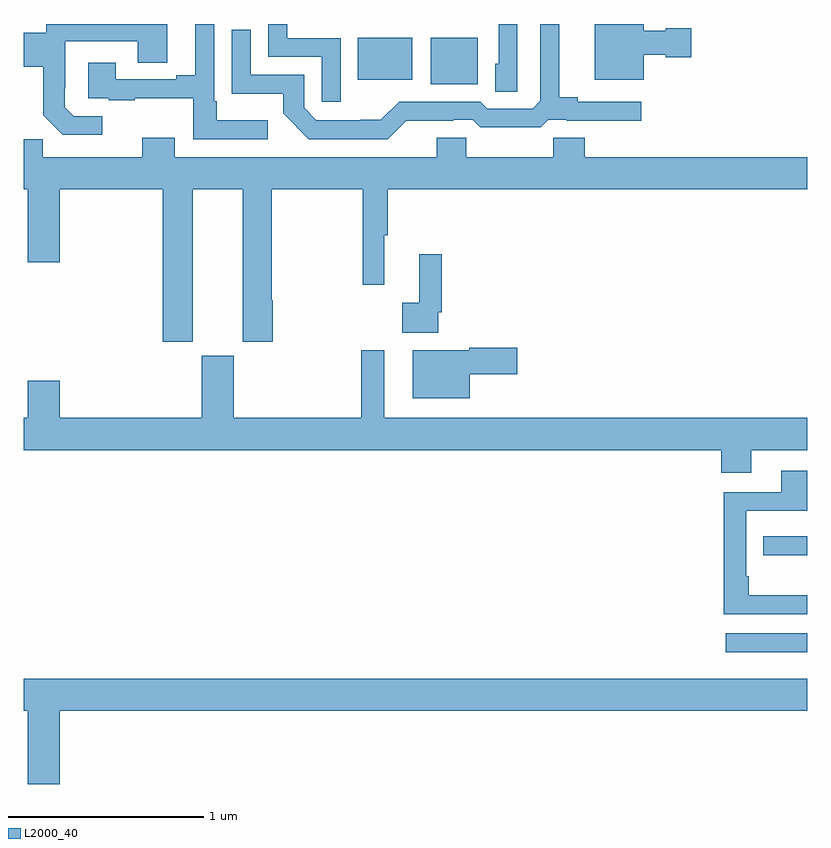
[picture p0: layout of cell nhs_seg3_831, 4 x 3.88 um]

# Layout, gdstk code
import gdstk
lib = gdstk.Library(unit=1e-6, precision=1e-09)
def R(c, l, rs):  # rectangles x0, y0, x1, y1
    for r in rs: c.add(gdstk.rectangle(r[:2], r[2:], *l))
def P(c, l, *ps):  # polygons
    for p in ps: c.add(gdstk.Polygon(p, *l))
L2000_40 = (2000, 40)

nhs_seg3_831 = lib.new_cell('nhs_seg3_831')
R(nhs_seg3_831, L2000_40, [(156.585,725.192,157,725.289), (156.775,725.687,157,725.784), (155.078,728.093,155.317,728.329), (154.706,728.114,154.984,728.329)])
P(nhs_seg3_831, L2000_40, [(154.952,727.907),(155.192,727.907),(155.192,727.911),(155.292,727.911),(155.332,727.872),(155.639,727.872),(155.679,727.911),(155.773,727.911),(155.773,727.907),(156.154,727.907),(156.154,728.004),(155.83,728.004),(155.83,728.027),(155.735,728.027),(155.735,728.4),(155.637,728.4),(155.637,728.007),(155.598,727.968),(155.367,727.968),(155.331,728.004),(154.917,728.004),(154.823,727.91),(154.718,727.91),(154.718,727.908),(154.494,727.908),(154.431,727.971),(154.431,728.142),(154.158,728.142),(154.158,728.371),(154.062,728.371),(154.062,728.045),(154.324,728.045),(154.324,727.943),(154.454,727.812),(154.857,727.812)],
  [(154.246,727.909),(153.985,727.909),(153.985,728.005),(153.972,728.005),(153.972,728.4),(153.875,728.4),(153.875,728.137),(153.779,728.137),(153.779,728.118),(153.469,728.118),(153.469,728.203),(153.329,728.203),(153.329,728.022),(153.433,728.022),(153.433,728.01),(153.565,728.01),(153.565,728.021),(153.864,728.021),(153.864,727.812),(154.246,727.812)],
  [(156.166,728.243),(156.279,728.243),(156.279,728.231),(156.409,728.231),(156.409,728.378),(156.279,728.378),(156.279,728.365),(156.166,728.365),(156.166,728.4),(155.915,728.4),(155.915,728.114),(156.166,728.114)],
  [(155.52,728.4),(155.424,728.4),(155.424,728.196),(155.408,728.196),(155.408,728.053),(155.52,728.053)],
  [(153.4,727.929),(153.255,727.929),(153.208,727.976),(153.208,728.071),(153.21,728.071),(153.21,728.312),(153.581,728.312),(153.581,728.203),(153.733,728.203),(153.733,728.4),(153.114,728.4),(153.114,728.356),(153,728.356),(153,728.181),(153.099,728.181),(153.099,727.935),(153.199,727.835),(153.4,727.835)],
  [(154.617,728.328),(154.344,728.328),(154.344,728.4),(154.248,728.4),(154.248,728.232),(154.521,728.232),(154.521,728.004),(154.617,728.004)],
  [(153.862,727.556),(154.118,727.556),(154.118,726.777),(154.271,726.777),(154.271,726.989),(154.266,726.989),(154.266,727.556),(154.731,727.556),(154.731,727.068),(154.841,727.068),(154.841,727.32),(154.859,727.32),(154.859,727.556),(157,727.556),(157,727.72),(155.864,727.72),(155.864,727.818),(155.704,727.818),(155.704,727.72),(155.259,727.72),(155.259,727.818),(155.108,727.818),(155.108,727.72),(153.769,727.72),(153.769,727.819),(153.605,727.819),(153.605,727.72),(153.095,727.72),(153.095,727.811),(153,727.811),(153,727.556),(153.02,727.556),(153.02,727.182),(153.184,727.182),(153.184,727.556),(153.71,727.556),(153.71,726.777),(153.862,726.777)],
  [(155.115,726.928),(155.135,726.928),(155.135,727.225),(155.018,727.225),(155.018,726.977),(154.932,726.977),(154.932,726.824),(155.115,726.824)],
  [(155.278,726.611),(155.521,726.611),(155.521,726.746),(155.274,726.746),(155.274,726.733),(154.985,726.733),(154.985,726.488),(155.278,726.488)],
  [(156.563,726.107),(156.715,726.107),(156.715,726.224),(157,726.224),(157,726.388),(154.84,726.388),(154.84,726.733),(154.723,726.733),(154.723,726.388),(154.072,726.388),(154.072,726.705),(153.908,726.705),(153.908,726.388),(153.184,726.388),(153.184,726.577),(153.02,726.577),(153.02,726.388),(153,726.388),(153,726.224),(156.563,726.224)],
  [(157,725.483),(156.703,725.483),(156.703,725.578),(156.69,725.578),(156.69,725.913),(157,725.913),(157,726.118),(156.869,726.118),(156.869,726.009),(156.574,726.009),(156.574,725.385),(157,725.385)],
  [(153.184,724.892),(157,724.892),(157,725.056),(153,725.056),(153,724.892),(153.02,724.892),(153.02,724.518),(153.184,724.518)])

lib.write_gds('nhs_seg3_831.gds')
